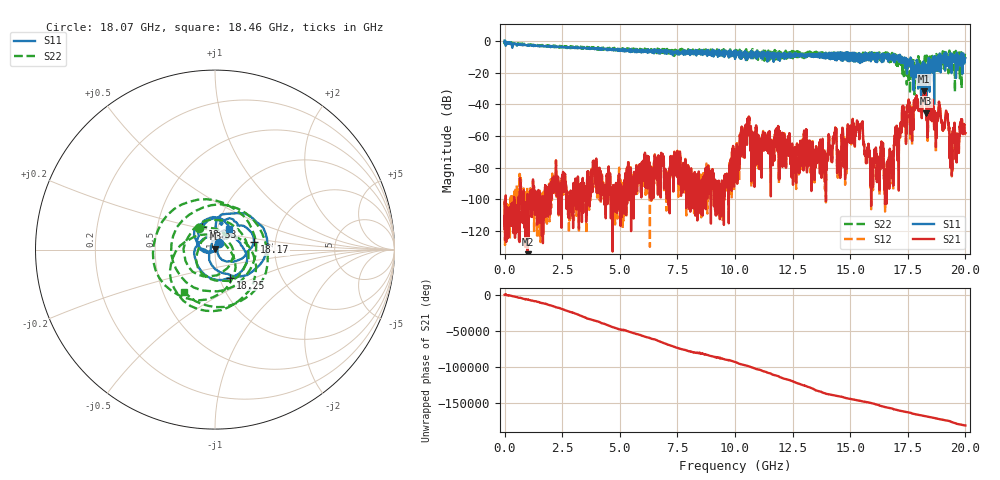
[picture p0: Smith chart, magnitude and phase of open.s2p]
! MS46122B
! 2250307/22442219
! 2/20/2026 8:53:12 AM
! C:\USERS\SPARKY\DOCUMENTS\VNA_DATA\FEB20_2026\OPEN.S2P
! CHANNEL.1
! TR.MEASUREMENT
! RAW.DATA
# GHZ S RI R 50.0
! FREQ.GHZ  S11RE  S11IM  S21RE  S21IM  S12RE  S12IM  S22RE  S22IM
!; PortSelection: Port_12
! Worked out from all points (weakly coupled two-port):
!   10001 points, 1 MHz to 20 GHz, reference 50 ohm
!   highest |S21| = -31.72 dB at 18.21 GHz (marker M1); lowest = -137.0 dB at 995 MHz (marker M2)
!   lowest |S11| = -45.7 dB at 18.3 GHz (marker M3), VSWR 1.01, Z = 50.2 + j0.471 ohm
!   |S11| at or under -10 dB: 17.18 GHz to 18.6 GHz (1.423 GHz wide, 7.95 % of centre); 18.69 GHz to 18.8 GHz (108.8 MHz wide, 0.58 % of centre); 19.18 GHz to 19.33 GHz (151.2 MHz wide, 0.785 % of centre) (the widest 3 of 93)
!   |S22| runs from -33.7 to 0.0 dB; largest |S21 - S12| = 0.0046
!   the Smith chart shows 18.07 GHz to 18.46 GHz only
!   S11 on the Smith chart (normalised r, x): 18.07 GHz: 1.04, +0.08; 18.17 GHz: 1.55, +0.13; 18.25 GHz: 1.13, -0.36; 18.33 GHz: 0.84, +0.22; 18.46 GHz: 1.14, +0.26
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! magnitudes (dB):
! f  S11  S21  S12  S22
! 1 MHz  0.4  -101.4  -105.2  -0.2
! 995 MHz  -2.8  -137.0  -100.2  -2.4
! 3.335 GHz  -4.1  -93.3  -91.6  -4.8
! 6.669 GHz  -7.2  -74.1  -74.1  -7.3
! 10 GHz  -11.1  -78.5  -77.0  -5.3
! 10.53 GHz  -8.6  -54.0  -54.3  -10.4
! 13.33 GHz  -9.8  -65.3  -65.9  -8.4
! 14.32 GHz  -8.5  -58.4  -59.0  -9.9
! 14.52 GHz  -7.5  -72.0  -72.2  -8.6
! 15.45 GHz  -9.5  -55.3  -55.4  -10.4
! 15.94 GHz  -7.2  -80.7  -82.3  -9.5
! 16.67 GHz  -9.3  -76.2  -76.5  -9.0
! 17.28 GHz  -12.9  -43.5  -43.6  -15.5
! 18.07 GHz  -27.3  -41.4  -41.2  -16.3
! 18.17 GHz  -13.1  -37.7  -37.5  -14.1
! 18.21 GHz  -27.6  -31.7  -31.8  -18.2
! 18.25 GHz  -15.0  -34.7  -34.7  -9.3
! 18.3 GHz  -45.7  -40.1  -40.0  -12.7
! 18.33 GHz  -16.7  -45.5  -45.8  -9.1
! 18.46 GHz  -17.2  -46.2  -47.1  -10.7
! 19.41 GHz  -12.1  -73.1  -72.9  -9.8
! 20 GHz  -10.7  -58.1  -58.7  -6.1
